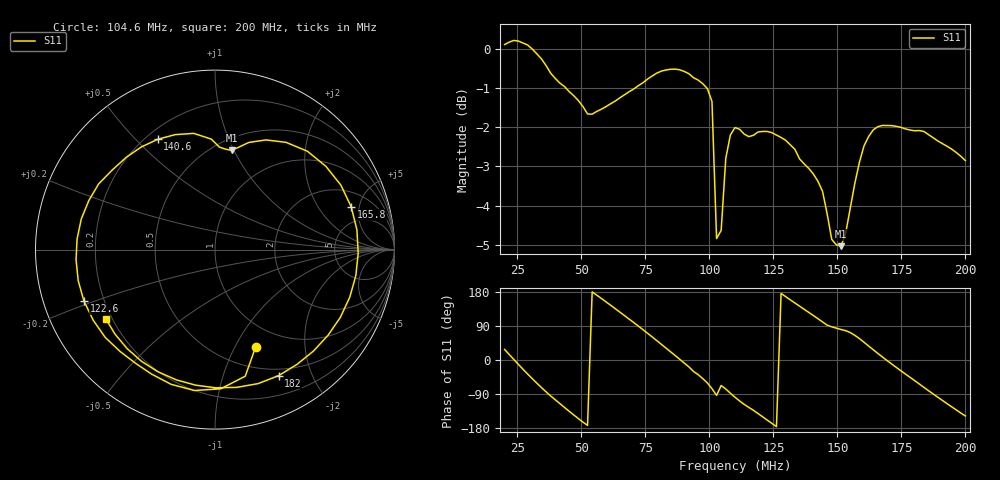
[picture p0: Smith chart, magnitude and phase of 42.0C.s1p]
# HZ S RI R 50
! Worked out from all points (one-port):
!   101 points, 20 MHz to 200 MHz, reference 50 ohm
!   lowest |S11| = -5.0 dB at 151.4 MHz (marker M1), VSWR 3.55, Z = 30.4 + j49 ohm
!   |S11| at or under -10 dB: nowhere
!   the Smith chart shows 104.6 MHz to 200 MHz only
!   S11 on the Smith chart (normalised r, x): 104.6 MHz: 0.74, -1.22; 122.6 MHz: 0.13, -0.19; 140.6 MHz: 0.25, +0.58; 165.8 MHz: 3.21, +4.15; 182 MHz: 0.42, -1.54; 200 MHz: 0.18, -0.28
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2e7  0.8948 0.4725
2.54e7  1.001 -0.2067
3.26e7  0.4757 -0.8621
3.8e7  -0.0783 -0.9271
4.34e7  -0.5159 -0.7311
5.42e7  -0.8252 0.00456
6.5e7  -0.5148 0.6959
7.58e7  0.3011 0.8633
8.3e7  0.7995 0.4928
8.84e7  0.9392 0.0314
9.2e7  0.8825 -0.2901
9.92e7  0.438 -0.774
1.01e8  0.2128 -0.8298
1.028e8  -0.0339 -0.5722
1.046e8  0.2266 -0.5416
1.1e8  -0.1147 -0.785
1.226e8  -0.7306 -0.2855
1.334e8  -0.6479 0.3665
1.406e8  -0.3187 0.6148
1.514e8  0.0924 0.5528
1.55e8  0.1883 0.5969
1.604e8  0.5149 0.548
1.658e8  0.7591 0.2377
1.712e8  0.7847 -0.1451
1.784e8  0.5491 -0.5648
1.82e8  0.3541 -0.7023
1.91e8  -0.2152 -0.7258
2e8  -0.6086 -0.3854
